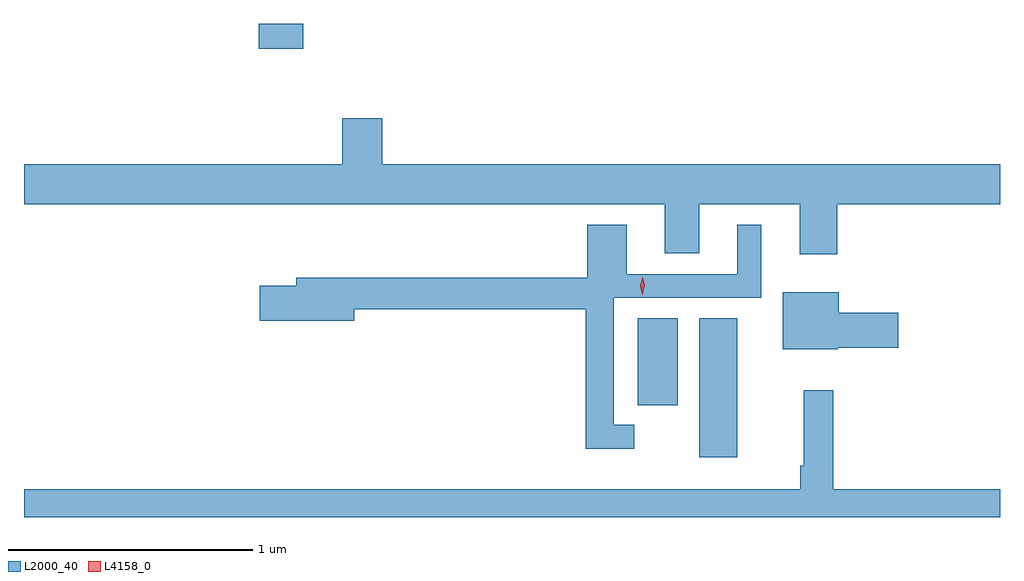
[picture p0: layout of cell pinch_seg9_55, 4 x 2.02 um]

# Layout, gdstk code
import gdstk
lib = gdstk.Library(unit=1e-6, precision=1e-09)
def R(c, l, rs):  # rectangles x0, y0, x1, y1
    for r in rs: c.add(gdstk.rectangle(r[:2], r[2:], *l))
def P(c, l, *ps):  # polygons
    for p in ps: c.add(gdstk.Polygon(p, *l))
L2000_40 = (2000, 40)
L4158_0 = (4158, 0)

pinch_seg9_55 = lib.new_cell('pinch_seg9_55')
R(pinch_seg9_55, L2000_40, [(969.668,1164.747,969.823,1165.316), (969.416,1164.96,969.58,1165.316), (967.862,1166.421,968.045,1166.524)])
P(pinch_seg9_55, L2000_40, [(969.527,1165.582),(969.667,1165.582),(969.667,1165.784),(970.079,1165.784),(970.079,1165.578),(970.232,1165.578),(970.232,1165.784),(970.9,1165.784),(970.9,1165.948),(968.368,1165.948),(968.368,1166.137),(968.204,1166.137),(968.204,1165.948),(966.9,1165.948),(966.9,1165.784),(969.527,1165.784)],
  [(969.4,1164.879),(969.318,1164.879),(969.318,1165.401),(969.922,1165.401),(969.922,1165.699),(969.824,1165.699),(969.824,1165.497),(969.37,1165.497),(969.37,1165.699),(969.209,1165.699),(969.209,1165.483),(968.015,1165.483),(968.015,1165.449),(967.866,1165.449),(967.866,1165.307),(968.254,1165.307),(968.254,1165.354),(969.202,1165.354),(969.202,1164.782),(969.4,1164.782)],
  [(970.236,1165.196),(970.483,1165.196),(970.483,1165.338),(970.24,1165.338),(970.24,1165.423),(970.01,1165.423),(970.01,1165.19),(970.236,1165.19)],
  [(970.096,1165.021),(970.096,1164.712),(970.081,1164.712),(970.081,1164.616),(966.9,1164.616),(966.9,1164.5),(970.9,1164.5),(970.9,1164.616),(970.217,1164.616),(970.217,1165.021)])
P(pinch_seg9_55, L4158_0, [(969.434,1165.413),(969.434,1165.413),(969.425,1165.45),(969.436,1165.485),(969.436,1165.485),(969.436,1165.485),(969.445,1165.449),(969.434,1165.413)])

lib.write_gds('pinch_seg9_55.gds')
